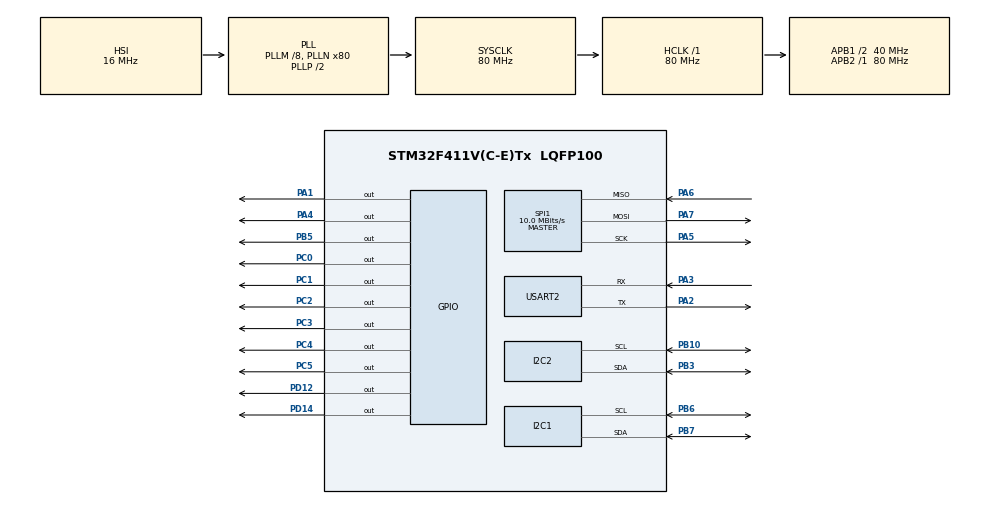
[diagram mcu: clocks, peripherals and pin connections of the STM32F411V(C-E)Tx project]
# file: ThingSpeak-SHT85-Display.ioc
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Mcu.Family=STM32F4
Mcu.Name=STM32F411V(C-E)Tx
Mcu.Package=LQFP100
NVIC.PriorityGroup=NVIC_PRIORITYGROUP_0
NVIC.USART2_IRQn=true\:0\:0\:false\:false\:true\:true\:true\:true
PA1.Signal=GPIO_Output
PA13.Mode=Serial_Wire
PA13.Signal=SYS_JTMS-SWDIO
PA14.Mode=Serial_Wire
PA14.Signal=SYS_JTCK-SWCLK
PA2.Mode=Asynchronous
PA2.Signal=USART2_TX
PA3.Mode=Asynchronous
PA3.Signal=USART2_RX
PA4.GPIO_Speed=GPIO_SPEED_FREQ_HIGH
PA4.PinState=GPIO_PIN_SET
PA4.Signal=GPIO_Output
PA5.Mode=Full_Duplex_Master
PA5.Signal=SPI1_SCK
PA6.Mode=Full_Duplex_Master
PA6.Signal=SPI1_MISO
PA7.Mode=Full_Duplex_Master
PA7.Signal=SPI1_MOSI
PB10.GPIO_Pu=GPIO_PULLUP
PB10.Mode=I2C
PB10.Signal=I2C2_SCL
PB3.GPIO_Pu=GPIO_PULLUP
PB3.Mode=I2C
PB3.Signal=I2C2_SDA
PB5.Signal=GPIO_Output
PB6.GPIO_Pu=GPIO_NOPULL
PB6.Mode=I2C
PB6.Signal=I2C1_SCL
PB7.GPIO_Pu=GPIO_NOPULL
PB7.Mode=I2C
PB7.Signal=I2C1_SDA
PC0.Signal=GPIO_Output
PC1.Signal=GPIO_Output
PC2.Signal=GPIO_Output
PC3.Signal=GPIO_Output
PC4.Signal=GPIO_Output
PC5.Signal=GPIO_Output
PD12.Signal=GPIO_Output
PD14.Signal=GPIO_Output
ProjectManager.HeapSize=0x200
ProjectManager.StackSize=0x400
ProjectManager.TargetToolchain=STM32CubeIDE
RCC.48MHZClocksFreq_Value=20000000
RCC.AHBFreq_Value=80000000
RCC.APB1CLKDivider=RCC_HCLK_DIV2
RCC.APB1Freq_Value=40000000
RCC.APB1TimFreq_Value=80000000
RCC.APB2Freq_Value=80000000
RCC.APB2TimFreq_Value=80000000
RCC.CortexFreq_Value=80000000
RCC.HCLKFreq_Value=80000000
RCC.HSE_VALUE=8000000
RCC.HSI_VALUE=16000000
RCC.LSE_VALUE=32768
RCC.PLLI2SM=5
RCC.PLLI2SN=200
RCC.PLLM=8
RCC.PLLN=80
RCC.PLLQ=8
RCC.SYSCLKFreq_VALUE=80000000
RCC.SYSCLKSource=RCC_SYSCLKSOURCE_PLLCLK
RCC.VCOOutputFreq_Value=160000000
SPI1.BaudRatePrescaler=SPI_BAUDRATEPRESCALER_8
SPI1.CalculateBaudRate=10.0 MBits/s
SPI1.Direction=SPI_DIRECTION_2LINES
SPI1.Mode=SPI_MODE_MASTER
SPI1.VirtualType=VM_MASTER
USART2.VirtualMode=VM_ASYNC
VP_FATFS_VS_Generic.Mode=User_defined
board=STM32F411E-DISCO

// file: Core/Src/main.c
/* USER CODE BEGIN Header */
/**
  ******************************************************************************
  * @file           : main.c
  * @brief          : Main program body
  ******************************************************************************
  * @attention
  *
  * Copyright (c) 2025 STMicroelectronics.
  * All rights reserved.
  *
  * This software is licensed under terms that can be found in the LICENSE file
  * in the root directory of this software component.
  * If no LICENSE file comes with this software, it is provided AS-IS.
  *
  ******************************************************************************
  */
/* USER CODE END Header */
#include "main.h"
#include "fatfs.h"

/* USER CODE BEGIN Includes */
#include <stdio.h>
#include <stdbool.h>
#include "lcd.h"
#include "sht85.h"
#include "veml7700.h"
#include "rele.h"

#include "wifi_thingspeak.h"
#include "mqtt_raspberry.h"
#include "esp_8266.h"

/* USER CODE END Includes */

/* USER CODE BEGIN PD */
//#define WIFI_SSID "MOVISTAR_1DD2"
//#define WIFI_PASS "55253A2D16DDBF32D47B"
const char* WIFI_SSID = "MOVISTAR_1DD2";
const char* WIFI_PASS = "55253A2D16DDBF32D47B";
#define THINGSPEAK_API_KEY "6K0OKMK195CFJ8SQ"

#define LUMINOSITY_THRESHOLD 1.5f
#define MEASUREMENT_INTERVAL 1000 // 0.2 segundos. Frecuencia para tomar mediciones con los sensores
#define DISPLAY_INTERVAL 3000 // 3 segundos. Frecuencia de muestreo de datos en el display
#define SEND_THINGSPEAK_INTERVAL 20000 // 20 segundos. Linea 184 de system_stm32f4xx.c modificada manualmente
#define SEND_MQTT_INTERVAL 8000 // 20 segundos. Linea 184 de system_stm32f4xx.c modificada manualmente

//#define WIFI_RESET_INTERVAL 3600000 // 1h en ms

/* USER CODE END PD */

I2C_HandleTypeDef hi2c1;
I2C_HandleTypeDef hi2c2;

SPI_HandleTypeDef hspi1;

UART_HandleTypeDef huart2;

/* USER CODE BEGIN PV */
float temperature = 0.0f;
float averageTemperature = 0.0f;
float humidity = 0.0f;
float averageHumidity = 0.0f;
float luminosity = 0.0f;
float averageLuminosity = 0.0f;
uint8_t countAverage = 0;
volatile uint32_t lastTimeMeasurement = 0;
volatile uint32_t lastTimeDisplay = 0;
volatile uint32_t lastThingSpeakSend = 0;
volatile uint32_t lastMQTTSend = 0;
//volatile uint32_t lastWiFiReset = 0;
volatile uint8_t displayState = 0; // 0: Temperature, 1: Humidity, 2: Luminosity
volatile bool releOn = false; // Variable global para monitorear el estado del relé

uint32_t marblack = 0;

/* USER CODE END PV */

void SystemClock_Config(void);
static void MX_GPIO_Init(void);
static void MX_I2C1_Init(void);
static void MX_USART2_UART_Init(void);
static void MX_I2C2_Init(void);
static void MX_SPI1_Init(void);
/* USER CODE BEGIN PFP */
static void MX_NVIC_Init(void);
const char* floatToStr(float num, int precision);
void LCD_Update_Variables(float* temperature, float* humidity, float* luminosity);

/* USER CODE END PFP */

/* USER CODE BEGIN 0 */

int __io_putchar(int ch) {
    ITM_SendChar(ch);
    return ch;
}

int _write(int file, char *ptr, int len){
	int i=0;
	for (i=0; i<len;i++){
		ITM_SendChar((*ptr));

	}
	return len;
}

const char* floatToStr(float num, int precision) {
    static char str[20]; // Buffer estático para almacenar la cadena resultante
    sprintf(str, "%.*f", precision, num);
    return str;
}

void LCD_Update_Variables(float* temperature, float* humidity, float* luminosity) {
    const char* strTemp = floatToStr(*temperature, 2);
    LCD_Clear();
    LCD_SetCursor(0, 0);
    LCD_Print("T:");
    LCD_Print(strTemp);
    //LCD_SendData(223);  // Enviar código ASCII del símbolo de grados para HD44780
    LCD_Print("C | H:");
    const char* strHum = floatToStr(*humidity, 0);
    LCD_Print(strHum);
    LCD_Print("%");
    const char* strLux = floatToStr(*luminosity, 3);
    LCD_SetCursor(1, 0);
    LCD_Print("  L: ");
	LCD_Print(strLux);
	LCD_Print(" lux");
}

/* USER CODE END 0 */

int main(void)
{

  /* USER CODE BEGIN 1 */
  lastTimeMeasurement = HAL_GetTick();
  lastTimeDisplay = HAL_GetTick();
  lastThingSpeakSend = HAL_GetTick();
  lastMQTTSend = HAL_GetTick();
  /* USER CODE END 1 */

  /* MCU Configuration--------------------------------------------------------*/

  /* Reset of all peripherals, Initializes the Flash interface and the Systick. */
  HAL_Init();

  /* USER CODE BEGIN Init */
  // Habilitar el ITM y DWT (necesario para printf por SWO). NO ESTOY SEGURO SI HAY QUE PONERLO. LO DICE CHATGPT
  CoreDebug->DEMCR |= CoreDebug_DEMCR_TRCENA_Msk;  // Enable TRC
  DWT->CTRL |= DWT_CTRL_CYCCNTENA_Msk;             // Enable DWT cycle counter

  /* USER CODE END Init */

  /* Configure the system clock */
  SystemClock_Config();

  /* Initialize all configured peripherals */
  MX_GPIO_Init();
  MX_I2C1_Init();
  MX_USART2_UART_Init();
  MX_I2C2_Init();
  MX_SPI1_Init();
  MX_FATFS_Init();
  /* USER CODE BEGIN 2 */
  MX_NVIC_Init();

  LCD_Init();
  //ResetSHT85();      // Añade esto antes de iniciar en modo periódico

  SHT85_Init();

  HAL_Delay(500);

  VEML7700_Init();

//  if (!ESP_Init()) {
//          printf("Error al inicializar ESP8266\r\n");
//          Error_Handler();
//      }
//
//      // 2) Conectar al Wi-Fi
//      if (!ESP_ConnectWiFi(WIFI_SSID, WIFI_PASS)) {
//          printf("Error al conectar al Wi-Fi\r\n");
//          Error_Handler();
//      }
//
//  if (ESP_ConnectWiFi(WIFI_SSID, WIFI_PASS)) {
//	  marblack = 5;
//	  LCD_Clear();
//	  LCD_SetCursor(0, 0);
//	  LCD_Print("Wifi conectado");
//	  LCD_SetCursor(1, 0);
//	  LCD_Print("correctamente");
//
//  } else {
//	  marblack = 53;
//	  LCD_Clear();
//	  LCD_SetCursor(0, 0);
//	  LCD_Print("Wifi ERROR");
//	  LCD_SetCursor(1, 0);
//	  LCD_Print("de conexion");
//  }

  Rele_Off(); // Relé inicializado en OFF

  /* USER CODE END 2 */

  /* Infinite loop */
  while (1)
  {

    /* USER CODE BEGIN 3 */

	  uint32_t currentTick = HAL_GetTick();

	  // Chequea el WiFi periódicamente
//	  if (!isWiFiConnected()) {
//		  connectToWiFi(WIFI_SSID, WIFI_PASS);
//	  }

	  // Medición de sensores
	  if (currentTick - lastTimeMeasurement >= MEASUREMENT_INTERVAL) {
		  //lastTimeMeasurement = currentTick;
		  lastTimeMeasurement += MEASUREMENT_INTERVAL; // Incrementar en lugar de reiniciar
		  //ReadSHT85_Periodic(&temperature, &humidity);
		  SHT85_ReadSingleShot(&temperature, &humidity);

		  //calculatorAverageTemperature(temperature, &averageTemperature);
		  //calculatorAverageHumidity(humidity, &averageHumidity);
		  SHT85_ErrorReset(&temperature, &humidity);

		  ReadVEML7700(&luminosity);
		  averageTemperature += temperature;
		  averageHumidity += humidity;
		  averageLuminosity += luminosity;
		  countAverage++;
		  //calculateAverageLuminosity(luminosity, &averageLuminosity);

		  // Display LCD
		  LCD_Update_Variables(&temperature, &humidity, &luminosity);

		  // Controlar el rele basado en la luminosidad
		  Control_Rele(luminosity);
	  }

	  // Envío de datos a ThingSpeak
	  /*if (currentTick - lastThingSpeakSend >= SEND_THINGSPEAK_INTERVAL) {
		  //lastTimeSend = currentTick;

		  if(countAverage == 0) {
			  averageTemperature = temperature;
			  averageHumidity = humidity;
			  averageLuminosity = luminosity;
		  } else {
			  averageTemperature = averageTemperature/countAverage;
			  averageHumidity = averageHumidity/countAverage;
			  averageLuminosity = averageLuminosity/countAverage;
		  }

		  lastThingSpeakSend += SEND_THINGSPEAK_INTERVAL ; // es recomendable utilizar el método de acumulación para evitar deriva en el tiempo
		  //sendDataToThingSpeak(THINGSPEAK_API_KEY, averageTemperature, averageHumidity, averageLuminosity);
		  sendDataToThingSpeak(THINGSPEAK_API_KEY, temperature, humidity, luminosity);

		  averageTemperature = 0.0f;
		  averageHumidity = 0.0f;
		  averageLuminosity = 0.0f;
		  countAverage = 0;
		  // INICIO COMUNICACIÓN MQTT CON RASPBERRY
		  // Activar MQTT si no lo está
		  //mqtt_raspberry_set_enabled(1);

		  // Enviar los datos a la Pi en JSON
		  //mqtt_raspberry_send(temperature, humidity, luminosity);

		  // FIN COMUNICACIÓN MQTT CON RASPBERRY
	  }
*/
	  // Envío de datos MQTT cada X segundos
	  // Cada X segundos, prepara datos y activa el envío
	  if (currentTick - lastMQTTSend >= SEND_MQTT_INTERVAL) {
		  lastMQTTSend = currentTick;

		  float t = temperature;
		  float h = humidity;
		  float l = luminosity;

		  mqtt_raspberry_send(t, h, l);
		  mqtt_raspberry_set_enabled(1);  // Activa la máquina de estados

	  }

	  	// Siempre procesar la máquina de estados, paso a paso
	  	mqtt_raspberry_process();

	  	HAL_Delay(10); // Pequeño delay para no saturar el MCU

		ESP_RESET();

//	  	ESP_RESET();

//	  processThingSpeakStateMachine(); // Procesar la máquina de estados de ThingSpeak

  }
  /* USER CODE END 3 */
}

void SystemClock_Config(void)
{
  RCC_OscInitTypeDef RCC_OscInitStruct = {0};
  RCC_ClkInitTypeDef RCC_ClkInitStruct = {0};

  /** Configure the main internal regulator output voltage
  */
  __HAL_RCC_PWR_CLK_ENABLE();
  __HAL_PWR_VOLTAGESCALING_CONFIG(PWR_REGULATOR_VOLTAGE_SCALE1);

  /** Initializes the RCC Oscillators according to the specified parameters
  * in the RCC_OscInitTypeDef structure.
  */
  RCC_OscInitStruct.OscillatorType = RCC_OSCILLATORTYPE_HSI;
  RCC_OscInitStruct.HSIState = RCC_HSI_ON;
  RCC_OscInitStruct.HSICalibrationValue = RCC_HSICALIBRATION_DEFAULT;
  RCC_OscInitStruct.PLL.PLLState = RCC_PLL_ON;
  RCC_OscInitStruct.PLL.PLLSource = RCC_PLLSOURCE_HSI;
  RCC_OscInitStruct.PLL.PLLM = 8;
  RCC_OscInitStruct.PLL.PLLN = 80;
  RCC_OscInitStruct.PLL.PLLP = RCC_PLLP_DIV2;
  RCC_OscInitStruct.PLL.PLLQ = 8;
  if (HAL_RCC_OscConfig(&RCC_OscInitStruct) != HAL_OK)
  {
    Error_Handler();
  }

  /** Initializes the CPU, AHB and APB buses clocks
  */
  RCC_ClkInitStruct.ClockType = RCC_CLOCKTYPE_HCLK|RCC_CLOCKTYPE_SYSCLK
                              |RCC_CLOCKTYPE_PCLK1|RCC_CLOCKTYPE_PCLK2;
  RCC_ClkInitStruct.SYSCLKSource = RCC_SYSCLKSOURCE_PLLCLK;
  RCC_ClkInitStruct.AHBCLKDivider = RCC_SYSCLK_DIV1;
  RCC_ClkInitStruct.APB1CLKDivider = RCC_HCLK_DIV2;
  RCC_ClkInitStruct.APB2CLKDivider = RCC_HCLK_DIV1;

  if (HAL_RCC_ClockConfig(&RCC_ClkInitStruct, FLASH_LATENCY_2) != HAL_OK)
  {
    Error_Handler();
  }
}

static void MX_I2C1_Init(void)
{

  hi2c1.Instance = I2C1;
  hi2c1.Init.ClockSpeed = 100000;
  hi2c1.Init.DutyCycle = I2C_DUTYCYCLE_2;
  hi2c1.Init.OwnAddress1 = 0;
  hi2c1.Init.AddressingMode = I2C_ADDRESSINGMODE_7BIT;
  hi2c1.Init.DualAddressMode = I2C_DUALADDRESS_DISABLE;
  hi2c1.Init.OwnAddress2 = 0;
  hi2c1.Init.GeneralCallMode = I2C_GENERALCALL_DISABLE;
  hi2c1.Init.NoStretchMode = I2C_NOSTRETCH_DISABLE;
  if (HAL_I2C_Init(&hi2c1) != HAL_OK)
  {
    Error_Handler();
  }

}

static void MX_I2C2_Init(void)
{

  hi2c2.Instance = I2C2;
  hi2c2.Init.ClockSpeed = 100000;
  hi2c2.Init.DutyCycle = I2C_DUTYCYCLE_2;
  hi2c2.Init.OwnAddress1 = 0;
  hi2c2.Init.AddressingMode = I2C_ADDRESSINGMODE_7BIT;
  hi2c2.Init.DualAddressMode = I2C_DUALADDRESS_DISABLE;
  hi2c2.Init.OwnAddress2 = 0;
  hi2c2.Init.GeneralCallMode = I2C_GENERALCALL_DISABLE;
  hi2c2.Init.NoStretchMode = I2C_NOSTRETCH_DISABLE;
  if (HAL_I2C_Init(&hi2c2) != HAL_OK)
  {
    Error_Handler();
  }

}

static void MX_SPI1_Init(void)
{

  /* SPI1 parameter configuration*/
  hspi1.Instance = SPI1;
  hspi1.Init.Mode = SPI_MODE_MASTER;
  hspi1.Init.Direction = SPI_DIRECTION_2LINES;
  hspi1.Init.DataSize = SPI_DATASIZE_8BIT;
  hspi1.Init.CLKPolarity = SPI_POLARITY_LOW;
  hspi1.Init.CLKPhase = SPI_PHASE_1EDGE;
  hspi1.Init.NSS = SPI_NSS_SOFT;
  hspi1.Init.BaudRatePrescaler = SPI_BAUDRATEPRESCALER_8;
  hspi1.Init.FirstBit = SPI_FIRSTBIT_MSB;
  hspi1.Init.TIMode = SPI_TIMODE_DISABLE;
  hspi1.Init.CRCCalculation = SPI_CRCCALCULATION_DISABLE;
  hspi1.Init.CRCPolynomial = 10;
  if (HAL_SPI_Init(&hspi1) != HAL_OK)
  {
    Error_Handler();
  }

}

static void MX_USART2_UART_Init(void)
{

  huart2.Instance = USART2;
  huart2.Init.BaudRate = 115200;
  huart2.Init.WordLength = UART_WORDLENGTH_8B;
  huart2.Init.StopBits = UART_STOPBITS_1;
  huart2.Init.Parity = UART_PARITY_NONE;
  huart2.Init.Mode = UART_MODE_TX_RX;
  huart2.Init.HwFlowCtl = UART_HWCONTROL_NONE;
  huart2.Init.OverSampling = UART_OVERSAMPLING_16;
  if (HAL_UART_Init(&huart2) != HAL_OK)
  {

    Error_Handler();
  }
  /* USER CODE BEGIN USART2_Init 2 */

  HAL_UART_Receive_IT(&huart2, &usartBuff_Rx, 1);

  /* USER CODE END USART2_Init 2 */

}

static void MX_GPIO_Init(void)
{
  GPIO_InitTypeDef GPIO_InitStruct = {0};

  /* GPIO Ports Clock Enable */
  __HAL_RCC_GPIOC_CLK_ENABLE();
  __HAL_RCC_GPIOA_CLK_ENABLE();
  __HAL_RCC_GPIOB_CLK_ENABLE();
  __HAL_RCC_GPIOD_CLK_ENABLE();

  /*Configure GPIO pin Output Level */
  HAL_GPIO_WritePin(GPIOC, GPIO_PIN_0|GPIO_PIN_1|GPIO_PIN_2|GPIO_PIN_3
                          |GPIO_PIN_4|GPIO_PIN_5, GPIO_PIN_RESET);

  /*Configure GPIO pin Output Level */
  HAL_GPIO_WritePin(GPIOA, GPIO_PIN_1, GPIO_PIN_RESET);

  /*Configure GPIO pin Output Level */
  HAL_GPIO_WritePin(GPIOA, GPIO_PIN_4, GPIO_PIN_SET);

  /*Configure GPIO pin Output Level */
  HAL_GPIO_WritePin(GPIOD, GPIO_PIN_12|GPIO_PIN_14, GPIO_PIN_RESET);

  /*Configure GPIO pin Output Level */
  HAL_GPIO_WritePin(GPIOB, GPIO_PIN_5, GPIO_PIN_RESET);

  /*Configure GPIO pins : PC0 PC1 PC2 PC3
                           PC4 PC5 */
  GPIO_InitStruct.Pin = GPIO_PIN_0|GPIO_PIN_1|GPIO_PIN_2|GPIO_PIN_3
                          |GPIO_PIN_4|GPIO_PIN_5;
  GPIO_InitStruct.Mode = GPIO_MODE_OUTPUT_PP;
  GPIO_InitStruct.Pull = GPIO_NOPULL;
  GPIO_InitStruct.Speed = GPIO_SPEED_FREQ_LOW;
  HAL_GPIO_Init(GPIOC, &GPIO_InitStruct);

  /*Configure GPIO pin : PA1 */
  GPIO_InitStruct.Pin = GPIO_PIN_1;
  GPIO_InitStruct.Mode = GPIO_MODE_OUTPUT_PP;
  GPIO_InitStruct.Pull = GPIO_NOPULL;
  GPIO_InitStruct.Speed = GPIO_SPEED_FREQ_LOW;
  HAL_GPIO_Init(GPIOA, &GPIO_InitStruct);

  /*Configure GPIO pin : PA4 */
  GPIO_InitStruct.Pin = GPIO_PIN_4;
  GPIO_InitStruct.Mode = GPIO_MODE_OUTPUT_PP;
  GPIO_InitStruct.Pull = GPIO_NOPULL;
  GPIO_InitStruct.Speed = GPIO_SPEED_FREQ_HIGH;
  HAL_GPIO_Init(GPIOA, &GPIO_InitStruct);

  /*Configure GPIO pins : PD12 PD14 */
  GPIO_InitStruct.Pin = GPIO_PIN_12|GPIO_PIN_14;
  GPIO_InitStruct.Mode = GPIO_MODE_OUTPUT_PP;
  GPIO_InitStruct.Pull = GPIO_NOPULL;
  GPIO_InitStruct.Speed = GPIO_SPEED_FREQ_LOW;
  HAL_GPIO_Init(GPIOD, &GPIO_InitStruct);

  /*Configure GPIO pin : PB5 */
  GPIO_InitStruct.Pin = GPIO_PIN_5;
  GPIO_InitStruct.Mode = GPIO_MODE_OUTPUT_PP;
  GPIO_InitStruct.Pull = GPIO_NOPULL;
  GPIO_InitStruct.Speed = GPIO_SPEED_FREQ_LOW;
  HAL_GPIO_Init(GPIOB, &GPIO_InitStruct);

}

/* USER CODE BEGIN 4 */

static void MX_NVIC_Init(void)
{
  /* USART2_IRQn interrupt configuration */
  HAL_NVIC_SetPriority(USART2_IRQn, 0, 0);
  HAL_NVIC_EnableIRQ(USART2_IRQn); // Habilitar interrupciones globales USART2 para ESP8266
}
/* USER CODE END 4 */

void Error_Handler(void)
{
  __disable_irq();
  while (1)
  {
  }
}
